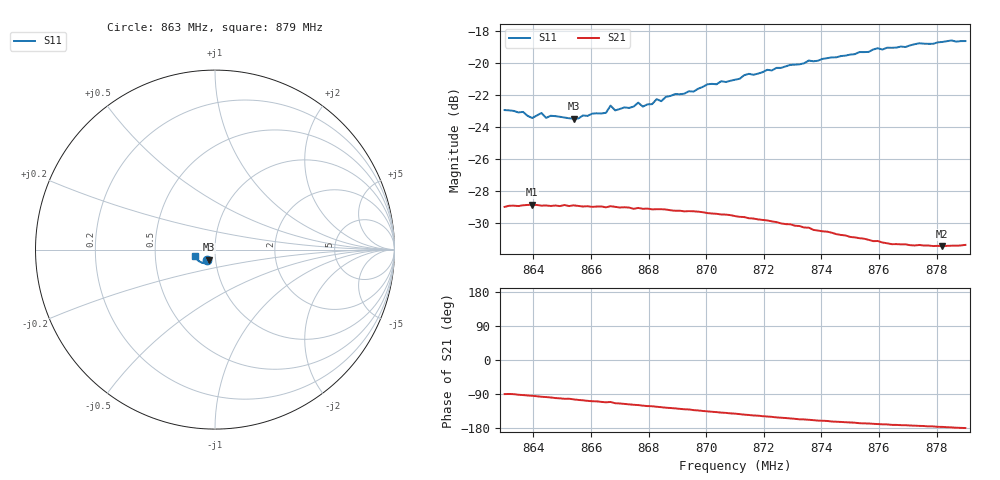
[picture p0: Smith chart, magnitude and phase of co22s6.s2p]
# HZ S RI R 50
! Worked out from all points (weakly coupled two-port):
!   101 points, 863 MHz to 879 MHz, reference 50 ohm
!   highest |S21| = -28.84 dB at 863.96 MHz (marker M1); lowest = -31.4 dB at 878.2 MHz (marker M2)
!   lowest |S11| = -23.5 dB at 865.4 MHz (marker M3), VSWR 1.14, Z = 46.2 - j5.26 ohm
!   |S11| at or under -10 dB: start of sweep to end of sweep
!   S12 and S22 are empty: the file has one direction only
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8.63e8  -0.0438 -0.0562  8e-06 -0.0356  0 0  0 0
8.6364e8  -0.0422 -0.0562  -0.00161 -0.036  0 0  0 0
8.6396e8  -0.0399 -0.0542  -0.00285 -0.036  0 0  0 0
8.6428e8  -0.0392 -0.0578  -0.00437 -0.0356  0 0  0 0
8.6444e8  -0.0384 -0.0553  -0.00488 -0.0356  0 0  0 0
8.654e8  -0.0359 -0.0566  -0.00864 -0.0349  0 0  0 0
8.6572e8  -0.0352 -0.0588  -0.0101 -0.0342  0 0  0 0
8.6652e8  -0.035 -0.0605  -0.0131 -0.033  0 0  0 0
8.6668e8  -0.0393 -0.0622  -0.0127 -0.0335  0 0  0 0
8.6684e8  -0.0353 -0.0617  -0.0145 -0.0325  0 0  0 0
8.6764e8  -0.0372 -0.0653  -0.0171 -0.0309  0 0  0 0
8.678e8  -0.0356 -0.0638  -0.0178 -0.0303  0 0  0 0
8.6828e8  -0.0375 -0.0673  -0.0193 -0.0292  0 0  0 0
8.6844e8  -0.0366 -0.0665  -0.0198 -0.0288  0 0  0 0
8.686e8  -0.038 -0.0685  -0.0205 -0.0283  0 0  0 0
8.7004e8  -0.0447 -0.0732  -0.0243 -0.0238  0 0  0 0
8.71e8  -0.0488 -0.0739  -0.0261 -0.0207  0 0  0 0
8.7148e8  -0.0533 -0.0755  -0.0269 -0.0188  0 0  0 0
8.7372e8  -0.0688 -0.0741  -0.0281 -0.011  0 0  0 0
8.7644e8  -0.0933 -0.0608  -0.0269 -0.00417  0 0  0 0
8.782e8  -0.1065 -0.0462  -0.0268 -0.00161  0 0  0 0
8.79e8  -0.1107 -0.0374  -0.0271 -0.000211  0 0  0 0
